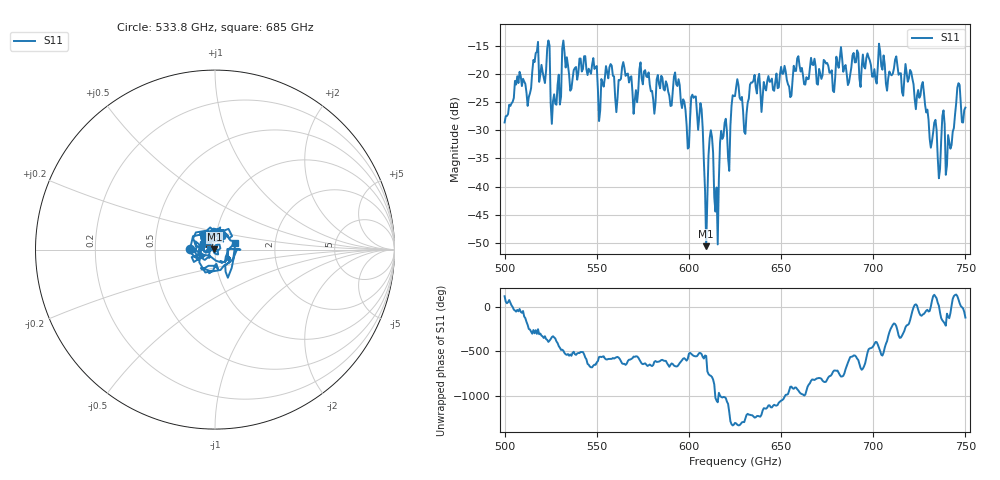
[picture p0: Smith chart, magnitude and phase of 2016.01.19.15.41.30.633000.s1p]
!Created with skrf (http://scikit-rf.org).
# GHz S RI R 50.0
!freq ReS11 ImS11
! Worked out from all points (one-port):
!   401 points, 500 GHz to 750 GHz, reference 50 ohm
!   lowest |S11| = -50.5 dB at 609.4 GHz (marker M1), VSWR 1.01, Z = 49.7 + j0.0746 ohm
!   |S11| at or under -10 dB: start of sweep to end of sweep
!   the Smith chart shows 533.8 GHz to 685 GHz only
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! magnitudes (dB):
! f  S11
! 500 GHz  -28.6
! 506.9 GHz  -20.4
! 513.1 GHz  -24.1
! 516.9 GHz  -16.3
! 523.1 GHz  -15.5
! 526.2 GHz  -24.8
! 531.2 GHz  -15.6
! 562.5 GHz  -21.1
! 593.8 GHz  -22.2
! 599.4 GHz  -33.2
! 602.5 GHz  -24.3
! 606.2 GHz  -25.2
! 609.4 GHz  -50.5
! 611.9 GHz  -30.0
! 615 GHz  -40.1
! 618.1 GHz  -31.5
! 621.9 GHz  -37.2
! 625 GHz  -24.0
! 630.6 GHz  -30.6
! 634.4 GHz  -21.5
! 656.2 GHz  -21.0
! 687.5 GHz  -20.2
! 718.8 GHz  -21.4
! 735.6 GHz  -38.5
! 737.5 GHz  -27.5
! 740.6 GHz  -30.9
! 746.2 GHz  -21.7
! 750 GHz  -26.0
